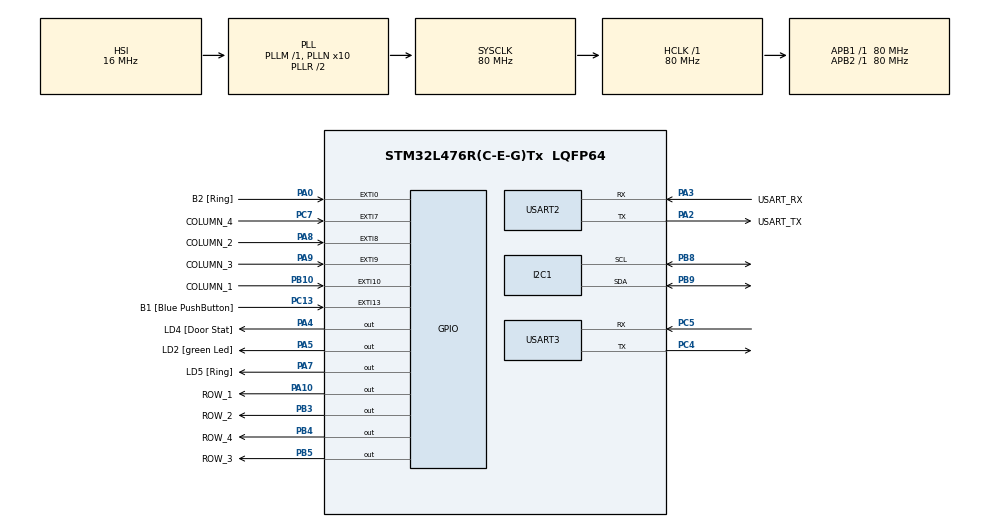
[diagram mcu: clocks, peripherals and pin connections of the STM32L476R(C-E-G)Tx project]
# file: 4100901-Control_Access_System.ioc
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I2C1.Timing=0x10D19CE4
Mcu.Family=STM32L4
Mcu.Name=STM32L476R(C-E-G)Tx
Mcu.Package=LQFP64
NVIC.EXTI0_IRQn=true\:0\:0\:false\:false\:true\:true\:true\:true
NVIC.EXTI15_10_IRQn=true\:1\:0\:true\:false\:true\:true\:true\:true
NVIC.EXTI9_5_IRQn=true\:1\:0\:true\:false\:true\:true\:true\:true
NVIC.PriorityGroup=NVIC_PRIORITYGROUP_4
NVIC.USART2_IRQn=true\:0\:0\:false\:false\:true\:true\:true\:true
NVIC.USART3_IRQn=true\:0\:0\:false\:false\:true\:true\:true\:true
PA0.GPIO_Label=B2 [Ring]
PA0.GPIO_ModeDefaultEXTI=GPIO_MODE_IT_FALLING
PA0.GPIO_PuPd=GPIO_NOPULL
PA0.Signal=GPXTI0
PA10.GPIO_Label=ROW_1
PA10.GPIO_ModeDefaultOutputPP=GPIO_MODE_OUTPUT_OD
PA10.GPIO_PuPd=GPIO_NOPULL
PA10.GPIO_Speed=GPIO_SPEED_FREQ_VERY_HIGH
PA10.PinState=GPIO_PIN_RESET
PA10.Signal=GPIO_Output
PA13\ (JTMS-SWDIO).GPIO_Label=TMS
PA13\ (JTMS-SWDIO).Mode=Serial_Wire
PA13\ (JTMS-SWDIO).Signal=SYS_JTMS-SWDIO
PA14\ (JTCK-SWCLK).GPIO_Label=TCK
PA14\ (JTCK-SWCLK).Mode=Serial_Wire
PA14\ (JTCK-SWCLK).Signal=SYS_JTCK-SWCLK
PA2.GPIO_Label=USART_TX
PA2.GPIO_Mode=GPIO_MODE_AF_PP
PA2.GPIO_PuPd=GPIO_NOPULL
PA2.GPIO_Speed=GPIO_SPEED_FREQ_VERY_HIGH
PA2.Mode=Asynchronous
PA2.Signal=USART2_TX
PA3.GPIO_Label=USART_RX
PA3.GPIO_Mode=GPIO_MODE_AF_PP
PA3.GPIO_PuPd=GPIO_NOPULL
PA3.GPIO_Speed=GPIO_SPEED_FREQ_VERY_HIGH
PA3.Mode=Asynchronous
PA3.Signal=USART2_RX
PA4.GPIO_Label=LD4 [Door Stat]
PA4.Signal=GPIO_Output
PA5.GPIO_Label=LD2 [green Led]
PA5.GPIO_ModeDefaultOutputPP=GPIO_MODE_OUTPUT_PP
PA5.GPIO_PuPd=GPIO_NOPULL
PA5.GPIO_Speed=GPIO_SPEED_FREQ_LOW
PA5.Signal=GPIO_Output
PA7.GPIO_Label=LD5 [Ring]
PA7.Signal=GPIO_Output
PA8.GPIO_Label=COLUMN_2
PA8.GPIO_ModeDefaultEXTI=GPIO_MODE_IT_FALLING
PA8.GPIO_PuPd=GPIO_PULLUP
PA8.Signal=GPXTI8
PA9.GPIO_Label=COLUMN_3
PA9.GPIO_ModeDefaultEXTI=GPIO_MODE_IT_FALLING
PA9.GPIO_PuPd=GPIO_PULLUP
PA9.Signal=GPXTI9
PB10.GPIO_Label=COLUMN_1
PB10.GPIO_ModeDefaultEXTI=GPIO_MODE_IT_FALLING
PB10.GPIO_PuPd=GPIO_PULLUP
PB10.Signal=GPXTI10
PB3\ (JTDO-TRACESWO).GPIO_Label=ROW_2
PB3\ (JTDO-TRACESWO).GPIO_ModeDefaultOutputPP=GPIO_MODE_OUTPUT_OD
PB3\ (JTDO-TRACESWO).GPIO_PuPd=GPIO_NOPULL
PB3\ (JTDO-TRACESWO).GPIO_Speed=GPIO_SPEED_FREQ_VERY_HIGH
PB3\ (JTDO-TRACESWO).PinState=GPIO_PIN_RESET
PB3\ (JTDO-TRACESWO).Signal=GPIO_Output
PB4\ (NJTRST).GPIO_Label=ROW_4
PB4\ (NJTRST).GPIO_ModeDefaultOutputPP=GPIO_MODE_OUTPUT_OD
PB4\ (NJTRST).GPIO_PuPd=GPIO_NOPULL
PB4\ (NJTRST).GPIO_Speed=GPIO_SPEED_FREQ_VERY_HIGH
PB4\ (NJTRST).PinState=GPIO_PIN_RESET
PB4\ (NJTRST).Signal=GPIO_Output
PB5.GPIO_Label=ROW_3
PB5.GPIO_ModeDefaultOutputPP=GPIO_MODE_OUTPUT_OD
PB5.GPIO_PuPd=GPIO_NOPULL
PB5.GPIO_Speed=GPIO_SPEED_FREQ_VERY_HIGH
PB5.PinState=GPIO_PIN_RESET
PB5.Signal=GPIO_Output
PB8.Mode=I2C
PB8.Signal=I2C1_SCL
PB9.Mode=I2C
PB9.Signal=I2C1_SDA
PC13.GPIO_Label=B1 [Blue PushButton]
PC13.GPIO_ModeDefaultEXTI=GPIO_MODE_IT_FALLING
PC13.GPIO_PuPd=GPIO_NOPULL
PC13.Signal=GPXTI13
PC14-OSC32_IN\ (PC14).Mode=LSE-External-Oscillator
PC14-OSC32_IN\ (PC14).Signal=RCC_OSC32_IN
PC15-OSC32_OUT\ (PC15).Mode=LSE-External-Oscillator
PC15-OSC32_OUT\ (PC15).Signal=RCC_OSC32_OUT
PC4.Mode=Asynchronous
PC4.Signal=USART3_TX
PC5.Mode=Asynchronous
PC5.Signal=USART3_RX
PC7.GPIO_Label=COLUMN_4
PC7.GPIO_ModeDefaultEXTI=GPIO_MODE_IT_FALLING
PC7.GPIO_PuPd=GPIO_PULLUP
PC7.Signal=GPXTI7
PH0-OSC_IN\ (PH0).Signal=RCC_OSC_IN
PH1-OSC_OUT\ (PH1).Signal=RCC_OSC_OUT
ProjectManager.HeapSize=0x200
ProjectManager.StackSize=0x400
ProjectManager.TargetToolchain=CMake
RCC.ADCFreq_Value=64000000
RCC.AHBFreq_Value=80000000
RCC.APB1Freq_Value=80000000
RCC.APB1TimFreq_Value=80000000
RCC.APB2Freq_Value=80000000
RCC.APB2TimFreq_Value=80000000
RCC.CortexFreq_Value=80000000
RCC.HCLKFreq_Value=80000000
RCC.HSE_VALUE=8000000
RCC.HSI_VALUE=16000000
RCC.MSI_VALUE=4000000
RCC.PLLN=10
RCC.PLLSourceVirtual=RCC_PLLSOURCE_HSI
RCC.PREFETCH_ENABLE=1
RCC.SYSCLKFreq_VALUE=80000000
RCC.SYSCLKSource=RCC_SYSCLKSOURCE_PLLCLK
RCC.USBFreq_Value=64000000
RCC.VCOOutputFreq_Value=160000000
USART2.VirtualMode-Asynchronous=VM_ASYNC
USART3.VirtualMode-Asynchronous=VM_ASYNC
board=NUCLEO-L476RG

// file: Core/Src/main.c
/* USER CODE BEGIN Header */
/**
  ******************************************************************************
  * @file           : main.c
  * @brief          : Main program body with updated command, timer, LED ring,
  *                   OLED bitmap display logic, and sleep mode functionality.
  ******************************************************************************
  * @attention
  *
  * Copyright (c) 2025 STMicroelectronics.
  * All rights reserved.
  *
  * This software is licensed under terms that can be found in the LICENSE file
  * in the root directory of this software component.
  * If no LICENSE file comes with this software, it is provided AS-IS.
  *
  ******************************************************************************
  */
/* USER CODE END Header */
#include "main.h"

/* USER CODE BEGIN Includes */
#include "keypad.h"
#include "ring_buffer.h"
#include "ssd1306.h"
#include "ssd1306_fonts.h"
#include <string.h>
#include <stdio.h>
#include "ring.h"
#include "locked.h"
#include "unlocked.h"

/* USER CODE END Includes */

/* USER CODE BEGIN PD */
#define FW_VERSION "0.1.0\r\n"
/* USER CODE END PD */

I2C_HandleTypeDef hi2c1;

UART_HandleTypeDef huart2;
UART_HandleTypeDef huart3;

/* USER CODE BEGIN PV */
uint8_t rx_byte;
uint8_t start = 0;

/* --- Globals for door state --- */
uint8_t door_permanent = 0;  // 0 = temporary/closed; 1 = permanently open

/* --- Global for temporary open timing (5 sec) --- */
uint32_t temp_open_start = 0;

/* --- For button debouncing and tracking --- */
uint32_t key_pressed_tick = 0;
uint16_t column_pressed = 0;
uint8_t byte_received_uart2;
uint8_t byte_received_uart3;
uint8_t button_press_count = 0;
uint32_t last_button_press_time = 0;
uint32_t debounce_tick = 0;
uint32_t button_debounce_tick = 0;

/* --- New globals for sleep/inactivity and mistakes --- */
uint32_t last_activity_tick = 0;    // updated on every activity (button or UART)
uint8_t mistake_count = 0;          // counts invalid (unrecognized) commands

/* USER CODE END PV */

void SystemClock_Config(void);
static void MX_GPIO_Init(void);
static void MX_USART2_UART_Init(void);
static void MX_USART3_UART_Init(void);
static void MX_I2C1_Init(void);

/* USER CODE BEGIN 0 */

void HAL_GPIO_EXTI_Callback(uint16_t GPIO_Pin) {
  uint32_t current_tick = HAL_GetTick();
  last_activity_tick = current_tick;  // any external interrupt resets inactivity timer
  if (GPIO_Pin == B1_Pin) {
    if ((current_tick - button_debounce_tick) < 200) {
      return;
    }
    button_debounce_tick = current_tick;
    button_press_count++;
    last_button_press_time = current_tick;
  }
  else if (GPIO_Pin == B2_Pin) {
    // No immediate action; B2 is polled in main loop.
  }
  else {
    if ((debounce_tick + 200) > current_tick) {
      return;
    }
    debounce_tick = current_tick;
    key_pressed_tick = current_tick;
    column_pressed = GPIO_Pin;
  }
}

#define COMMAND_LENGTH 3
const char CMD_START[]     = "#*#";
const char CMD_TEMP_OPEN[] = "#0#";   // Temporary open command (5 sec)
const char CMD_CLOSE[]     = "#C#";   // Close command
const char CMD_STATUS[]    = "#1#";   // Status command
const char CMD_RESET[]     = "#8#";   // Reset command

ring_buffer_t rx_buffer;
uint8_t rx_buffer_mem[64];
char current_cmd[COMMAND_LENGTH];
uint8_t cmd_index = 0;

/* --- UART Receive Callback --- */
void HAL_UART_RxCpltCallback(UART_HandleTypeDef *huart){
  uint32_t current_tick = HAL_GetTick();
  last_activity_tick = current_tick;  // activity detected from UART
  if (huart == &huart2) {
    ring_buffer_write(&rx_buffer, byte_received_uart2);
    HAL_UART_Transmit(&huart3, &byte_received_uart2, 1, 10);
    HAL_UART_Receive_IT(&huart2, &byte_received_uart2, 1);
  } else if (huart == &huart3) {
    ring_buffer_write(&rx_buffer, byte_received_uart3);
    HAL_UART_Transmit(&huart2, &byte_received_uart3, 1, 10);
    HAL_UART_Receive_IT(&huart3, &byte_received_uart3, 1);
  }
}

void sleep_mode_inactivity(void) {
  uart_send_string("\r\nNo activity for 30 sec. Entering sleep mode.\r\n");
  HAL_SuspendTick();
  HAL_PWR_EnterSLEEPMode(PWR_MAINREGULATOR_ON, PWR_SLEEPENTRY_WFI);
  HAL_ResumeTick();
  uart_send_string("\r\nAwake from inactivity sleep.\r\n");
  last_activity_tick = HAL_GetTick();
}

void sleep_mode_mistake(void) {
  uart_send_string("\r\nToo many invalid commands. Sleeping for 10 sec.\r\n");
  HAL_SuspendTick();
  uint32_t sleepStart = HAL_GetTick();
  HAL_PWR_EnterSLEEPMode(PWR_MAINREGULATOR_ON, PWR_SLEEPENTRY_WFI);
  // Ensure at least 10 sec pass before resuming
  while(HAL_GetTick() - sleepStart < 10000) { }
  HAL_ResumeTick();
  uart_send_string("\r\nAwake from mistake sleep.\r\n");
  mistake_count = 0;
  last_activity_tick = HAL_GetTick();
}

void process_commands(void) {
  uint8_t byte;

  while (ring_buffer_read(&rx_buffer, &byte)) {
    memmove(current_cmd, current_cmd + 1, COMMAND_LENGTH - 1);
    current_cmd[COMMAND_LENGTH - 1] = (char)byte;

    if (memcmp(current_cmd, CMD_START, COMMAND_LENGTH) == 0) {
      start = 1;
      uart_send_string("\r\nInput key : Correct.\r\n");
      memset(current_cmd, 0, COMMAND_LENGTH);
      mistake_count = 0;  // reset mistakes on valid start
    }

    if (start) {
      if (memcmp(current_cmd, CMD_TEMP_OPEN, COMMAND_LENGTH) == 0) {
        HAL_GPIO_WritePin(LD4_GPIO_Port, LD4_Pin, GPIO_PIN_SET);
        door_permanent = 0;
        temp_open_start = HAL_GetTick();
        uart_send_string("\r\nDoor opened temporarily (5 sec).\r\n");
        memset(current_cmd, 0, COMMAND_LENGTH);
        mistake_count = 0;
      }
      else if (memcmp(current_cmd, CMD_CLOSE, COMMAND_LENGTH) == 0) {
        HAL_GPIO_WritePin(LD4_GPIO_Port, LD4_Pin, GPIO_PIN_RESET);
        door_permanent = 0;
        temp_open_start = 0;
        uart_send_string("\r\nDoor closed.\r\n");
        memset(current_cmd, 0, COMMAND_LENGTH);
        mistake_count = 0;
      }
      else if (memcmp(current_cmd, CMD_STATUS, COMMAND_LENGTH) == 0) {
        uint8_t state = HAL_GPIO_ReadPin(LD4_GPIO_Port, LD4_Pin);
        uart_send_string(state ? "\r\nStatus: OPEN\r\n" : "\r\nStatus: CLOSED\r\n");
        memset(current_cmd, 0, COMMAND_LENGTH);
        mistake_count = 0;
      }
      else if (memcmp(current_cmd, CMD_RESET, COMMAND_LENGTH) == 0) {
        HAL_GPIO_WritePin(LD4_GPIO_Port, LD4_Pin, GPIO_PIN_RESET);
        HAL_GPIO_WritePin(LD5_GPIO_Port, LD5_Pin, GPIO_PIN_RESET);
        door_permanent = 0;
        temp_open_start = 0;
        uart_send_string("\r\nSystem reset.\r\n");
        memset(current_cmd, 0, COMMAND_LENGTH);
        mistake_count = 0;
      }

      else {

        if (current_cmd[0] != 0) {
          mistake_count++;
          char msg[50];
          sprintf(msg, "\r\nInvalid command. %d tries remaining until sleep.\r\n", 5 - mistake_count);
          uart_send_string(msg);
          memset(current_cmd, 0, COMMAND_LENGTH);
          if (mistake_count >= 5) {
            sleep_mode_mistake();
          }
        }
      }
    }
  }
}

void uart_send_string(const char *str) {
  HAL_UART_Transmit(&huart2, (uint8_t *)str, strlen(str), 100);
  HAL_UART_Transmit(&huart3, (uint8_t *)str, strlen(str), 100);
}

void heartbeat(void)
{
  static uint32_t last_tick = 0;
  if ((last_tick + 500) < HAL_GetTick()) {
    last_tick = HAL_GetTick();
    HAL_GPIO_TogglePin(LD2_GPIO_Port, LD2_Pin);
  }
}

/* USER CODE END 0 */

int main(void)
{

  /* MCU Configuration--------------------------------------------------------*/

  /* Reset of all peripherals, Initializes the Flash interface and the Systick. */
  HAL_Init();

  /* Configure the system clock */
  SystemClock_Config();

  /* Initialize all configured peripherals */
  MX_GPIO_Init();
  MX_USART2_UART_Init();
  MX_USART3_UART_Init();
  MX_I2C1_Init();
  /* USER CODE BEGIN 2 */
  ssd1306_Init();
  ssd1306_Fill(Black);
  ssd1306_UpdateScreen();
  keypad_init();
  ring_buffer_init(&rx_buffer, rx_buffer_mem, sizeof(rx_buffer_mem));
  memset(current_cmd, 0, COMMAND_LENGTH);
  last_activity_tick = HAL_GetTick();
  /* USER CODE END 2 */

  /* Infinite loop */
  /* USER CODE BEGIN WHILE */
  HAL_UART_Receive_IT(&huart2, &byte_received_uart2, 1);
  HAL_UART_Receive_IT(&huart3, &byte_received_uart3, 1);
  HAL_UART_Transmit(&huart2, (uint8_t *)FW_VERSION, strlen(FW_VERSION), 10);
  HAL_UART_Transmit(&huart3, (uint8_t *)FW_VERSION, strlen(FW_VERSION), 10);

  ssd1306_SetCursor(20, 20);
  ssd1306_WriteString((char *)FW_VERSION, Font_7x10, White);
  ssd1306_UpdateScreen();

  static uint32_t last_blink_tick = 0;
  static uint8_t prev_b2_state = 0;

  while (1)
  {
    heartbeat();

    if (HAL_GetTick() - last_activity_tick >= 30000) {
      sleep_mode_inactivity();
    }

    if (column_pressed != 0 && (key_pressed_tick + 5) < HAL_GetTick()) {
      uint8_t key = keypad_scan(column_pressed);
      ring_buffer_write(&rx_buffer, key);
      HAL_UART_Transmit(&huart2, &key, 1, 100);
      HAL_UART_Transmit(&huart3, &key, 1, 100);
      column_pressed = 0;
    }

    process_commands();

    /* --- Updated B1 button handling ---
         Single press: if door is not permanently open, open door temporarily (5 sec);
                       if door is permanently open, then close it.
         Double press: open door permanently.
    */
    if (button_press_count > 0 && (HAL_GetTick() - last_button_press_time) >= 500) {
      if (button_press_count == 1) {
        if (door_permanent) {
          HAL_GPIO_WritePin(LD4_GPIO_Port, LD4_Pin, GPIO_PIN_RESET);
          door_permanent = 0;
          uart_send_string("\r\nButton: Door closed.\r\n");
        } else {
          HAL_GPIO_WritePin(LD4_GPIO_Port, LD4_Pin, GPIO_PIN_SET);
          temp_open_start = HAL_GetTick();
          uart_send_string("\r\nButton: Door opened temporarily (5 sec).\r\n");
        }
      } else if (button_press_count >= 2) {
        HAL_GPIO_WritePin(LD4_GPIO_Port, LD4_Pin, GPIO_PIN_SET);
        door_permanent = 1;
        temp_open_start = 0;
        uart_send_string("\r\nButton: Door opened permanently.\r\n");
      }
      button_press_count = 0;
      last_button_press_time = 0;
    }

    /* --- Auto-close temporary door after 5 seconds ---
         Only if door is not set to permanent.
    */
    if (!door_permanent && temp_open_start != 0 &&
        (HAL_GetTick() - temp_open_start >= 5000)) {
      HAL_GPIO_WritePin(LD4_GPIO_Port, LD4_Pin, GPIO_PIN_RESET);
      uart_send_string("\r\nDoor auto-closed after temporary open.\r\n");
      temp_open_start = 0;
    }

    /* --- Ring Button (B2) and OLED display handling ---
         When B2 is pressed (GPIO high):
             - The ring LED (LD5) is forced OFF.
             - The OLED displays the ring bitmap.
             - On a rising edge, a UART message is sent.
         When B2 is not pressed:
             - The ring LED toggles every 250 ms.
             - The OLED displays the door state image:
                 > If the door (LD4) is ON, display the "unlocked" bitmap.
                 > Otherwise, display the "locked" bitmap.
    */
   uint8_t current_b2_state = HAL_GPIO_ReadPin(B2_GPIO_Port, B2_Pin);
  if (current_b2_state == GPIO_PIN_RESET) {  // Button pressed (active low)
      if (!prev_b2_state) {
          uart_send_string("\r\nRing pressed.\r\n");
      }
      // Turn the LED ON when the button is pressed.
      HAL_GPIO_WritePin(LD5_GPIO_Port, LD5_Pin, GPIO_PIN_SET);
      ssd1306_Fill(Black);
      ssd1306_DrawBitmap(0, 0, ring, 128, 64, White);
      ssd1306_UpdateScreen();
      prev_b2_state = 1;
  } else {
      // Turn the LED OFF when the button is not pressed.
      HAL_GPIO_WritePin(LD5_GPIO_Port, LD5_Pin, GPIO_PIN_RESET);
      ssd1306_Fill(Black);
      if (HAL_GPIO_ReadPin(LD4_GPIO_Port, LD4_Pin) == GPIO_PIN_SET) {
        ssd1306_DrawBitmap(0, 0, unlocked, 128, 64, White);
      } else {
        ssd1306_DrawBitmap(0, 0, locked, 128, 64, White);
      }
      ssd1306_UpdateScreen();
      prev_b2_state = 0;
  }
    /* USER CODE END WHILE */

  }
}

void SystemClock_Config(void)
{
  RCC_OscInitTypeDef RCC_OscInitStruct = {0};
  RCC_ClkInitTypeDef RCC_ClkInitStruct = {0};

  /** Configure the main internal regulator output voltage
  */
  if (HAL_PWREx_ControlVoltageScaling(PWR_REGULATOR_VOLTAGE_SCALE1) != HAL_OK)
  {
    Error_Handler();
  }

  /** Initializes the RCC Oscillators according to the specified parameters
  * in the RCC_OscInitTypeDef structure.
  */
  RCC_OscInitStruct.OscillatorType = RCC_OSCILLATORTYPE_HSI;
  RCC_OscInitStruct.HSIState = RCC_HSI_ON;
  RCC_OscInitStruct.HSICalibrationValue = RCC_HSICALIBRATION_DEFAULT;
  RCC_OscInitStruct.PLL.PLLState = RCC_PLL_ON;
  RCC_OscInitStruct.PLL.PLLSource = RCC_PLLSOURCE_HSI;
  RCC_OscInitStruct.PLL.PLLM = 1;
  RCC_OscInitStruct.PLL.PLLN = 10;
  RCC_OscInitStruct.PLL.PLLP = RCC_PLLP_DIV7;
  RCC_OscInitStruct.PLL.PLLQ = RCC_PLLQ_DIV2;
  RCC_OscInitStruct.PLL.PLLR = RCC_PLLR_DIV2;
  if (HAL_RCC_OscConfig(&RCC_OscInitStruct) != HAL_OK)
  {
    Error_Handler();
  }

  /** Initializes the CPU, AHB and APB buses clocks
  */
  RCC_ClkInitStruct.ClockType = RCC_CLOCKTYPE_HCLK|RCC_CLOCKTYPE_SYSCLK
                              |RCC_CLOCKTYPE_PCLK1|RCC_CLOCKTYPE_PCLK2;
  RCC_ClkInitStruct.SYSCLKSource = RCC_SYSCLKSOURCE_PLLCLK;
  RCC_ClkInitStruct.AHBCLKDivider = RCC_SYSCLK_DIV1;
  RCC_ClkInitStruct.APB1CLKDivider = RCC_HCLK_DIV1;
  RCC_ClkInitStruct.APB2CLKDivider = RCC_HCLK_DIV1;

  if (HAL_RCC_ClockConfig(&RCC_ClkInitStruct, FLASH_LATENCY_4) != HAL_OK)
  {
    Error_Handler();
  }
}

static void MX_I2C1_Init(void)
{

  hi2c1.Instance = I2C1;
  hi2c1.Init.Timing = 0x10D19CE4;
  hi2c1.Init.OwnAddress1 = 0;
  hi2c1.Init.AddressingMode = I2C_ADDRESSINGMODE_7BIT;
  hi2c1.Init.DualAddressMode = I2C_DUALADDRESS_DISABLE;
  hi2c1.Init.OwnAddress2 = 0;
  hi2c1.Init.OwnAddress2Masks = I2C_OA2_NOMASK;
  hi2c1.Init.GeneralCallMode = I2C_GENERALCALL_DISABLE;
  hi2c1.Init.NoStretchMode = I2C_NOSTRETCH_DISABLE;
  if (HAL_I2C_Init(&hi2c1) != HAL_OK)
  {
    Error_Handler();
  }

  /** Configure Analogue filter
  */
  if (HAL_I2CEx_ConfigAnalogFilter(&hi2c1, I2C_ANALOGFILTER_ENABLE) != HAL_OK)
  {
    Error_Handler();
  }

  /** Configure Digital filter
  */
  if (HAL_I2CEx_ConfigDigitalFilter(&hi2c1, 0) != HAL_OK)
  {
    Error_Handler();
  }

}

static void MX_USART2_UART_Init(void)
{

  huart2.Instance = USART2;
  huart2.Init.BaudRate = 115200;
  huart2.Init.WordLength = UART_WORDLENGTH_8B;
  huart2.Init.StopBits = UART_STOPBITS_1;
  huart2.Init.Parity = UART_PARITY_NONE;
  huart2.Init.Mode = UART_MODE_TX_RX;
  huart2.Init.HwFlowCtl = UART_HWCONTROL_NONE;
  huart2.Init.OverSampling = UART_OVERSAMPLING_16;
  huart2.Init.OneBitSampling = UART_ONE_BIT_SAMPLE_DISABLE;
  huart2.AdvancedInit.AdvFeatureInit = UART_ADVFEATURE_NO_INIT;
  if (HAL_UART_Init(&huart2) != HAL_OK)
  {
    Error_Handler();
  }

}

static void MX_USART3_UART_Init(void)
{

  huart3.Instance = USART3;
  huart3.Init.BaudRate = 115200;
  huart3.Init.WordLength = UART_WORDLENGTH_8B;
  huart3.Init.StopBits = UART_STOPBITS_1;
  huart3.Init.Parity = UART_PARITY_NONE;
  huart3.Init.Mode = UART_MODE_TX_RX;
  huart3.Init.HwFlowCtl = UART_HWCONTROL_NONE;
  huart3.Init.OverSampling = UART_OVERSAMPLING_16;
  huart3.Init.OneBitSampling = UART_ONE_BIT_SAMPLE_DISABLE;
  huart3.AdvancedInit.AdvFeatureInit = UART_ADVFEATURE_NO_INIT;
  if (HAL_UART_Init(&huart3) != HAL_OK)
  {
    Error_Handler();
  }

}

static void MX_GPIO_Init(void)
{
  GPIO_InitTypeDef GPIO_InitStruct = {0};

  /* GPIO Ports Clock Enable */
  __HAL_RCC_GPIOC_CLK_ENABLE();
  __HAL_RCC_GPIOH_CLK_ENABLE();
  __HAL_RCC_GPIOA_CLK_ENABLE();
  __HAL_RCC_GPIOB_CLK_ENABLE();

  /*Configure GPIO pin Output Level */
  HAL_GPIO_WritePin(GPIOA, LD4_Pin|LD2_Pin|LD5_Pin|ROW_1_Pin, GPIO_PIN_RESET);

  /*Configure GPIO pin Output Level */
  HAL_GPIO_WritePin(GPIOB, ROW_2_Pin|ROW_4_Pin|ROW_3_Pin, GPIO_PIN_RESET);

  /*Configure GPIO pin : B1_Pin */
  GPIO_InitStruct.Pin = B1_Pin;
  GPIO_InitStruct.Mode = GPIO_MODE_IT_FALLING;
  GPIO_InitStruct.Pull = GPIO_NOPULL;
  HAL_GPIO_Init(B1_GPIO_Port, &GPIO_InitStruct);

  /*Configure GPIO pin : B2_Pin */
  GPIO_InitStruct.Pin = B2_Pin;
  GPIO_InitStruct.Mode = GPIO_MODE_IT_FALLING;
  GPIO_InitStruct.Pull = GPIO_NOPULL;
  HAL_GPIO_Init(B2_GPIO_Port, &GPIO_InitStruct);

  /*Configure GPIO pins : LD4_Pin LD2_Pin LD5_Pin */
  GPIO_InitStruct.Pin = LD4_Pin|LD2_Pin|LD5_Pin;
  GPIO_InitStruct.Mode = GPIO_MODE_OUTPUT_PP;
  GPIO_InitStruct.Pull = GPIO_NOPULL;
  GPIO_InitStruct.Speed = GPIO_SPEED_FREQ_LOW;
  HAL_GPIO_Init(GPIOA, &GPIO_InitStruct);

  /*Configure GPIO pin : COLUMN_1_Pin */
  GPIO_InitStruct.Pin = COLUMN_1_Pin;
  GPIO_InitStruct.Mode = GPIO_MODE_IT_FALLING;
  GPIO_InitStruct.Pull = GPIO_PULLUP;
  HAL_GPIO_Init(COLUMN_1_GPIO_Port, &GPIO_InitStruct);

  /*Configure GPIO pin : COLUMN_4_Pin */
  GPIO_InitStruct.Pin = COLUMN_4_Pin;
  GPIO_InitStruct.Mode = GPIO_MODE_IT_FALLING;
  GPIO_InitStruct.Pull = GPIO_PULLUP;
  HAL_GPIO_Init(COLUMN_4_GPIO_Port, &GPIO_InitStruct);

  /*Configure GPIO pins : COLUMN_2_Pin COLUMN_3_Pin */
  GPIO_InitStruct.Pin = COLUMN_2_Pin|COLUMN_3_Pin;
  GPIO_InitStruct.Mode = GPIO_MODE_IT_FALLING;
  GPIO_InitStruct.Pull = GPIO_PULLUP;
  HAL_GPIO_Init(GPIOA, &GPIO_InitStruct);

  /*Configure GPIO pin : ROW_1_Pin */
  GPIO_InitStruct.Pin = ROW_1_Pin;
  GPIO_InitStruct.Mode = GPIO_MODE_OUTPUT_OD;
  GPIO_InitStruct.Pull = GPIO_NOPULL;
  GPIO_InitStruct.Speed = GPIO_SPEED_FREQ_VERY_HIGH;
  HAL_GPIO_Init(ROW_1_GPIO_Port, &GPIO_InitStruct);

  /*Configure GPIO pins : ROW_2_Pin ROW_4_Pin ROW_3_Pin */
  GPIO_InitStruct.Pin = ROW_2_Pin|ROW_4_Pin|ROW_3_Pin;
  GPIO_InitStruct.Mode = GPIO_MODE_OUTPUT_OD;
  GPIO_InitStruct.Pull = GPIO_NOPULL;
  GPIO_InitStruct.Speed = GPIO_SPEED_FREQ_VERY_HIGH;
  HAL_GPIO_Init(GPIOB, &GPIO_InitStruct);

  /* EXTI interrupt init*/
  HAL_NVIC_SetPriority(EXTI0_IRQn, 0, 0);
  HAL_NVIC_EnableIRQ(EXTI0_IRQn);

  HAL_NVIC_SetPriority(EXTI9_5_IRQn, 1, 0);
  HAL_NVIC_EnableIRQ(EXTI9_5_IRQn);

  HAL_NVIC_SetPriority(EXTI15_10_IRQn, 1, 0);
  HAL_NVIC_EnableIRQ(EXTI15_10_IRQn);

}

void Error_Handler(void)
{
  __disable_irq();
  while (1)
  {
  }
}
